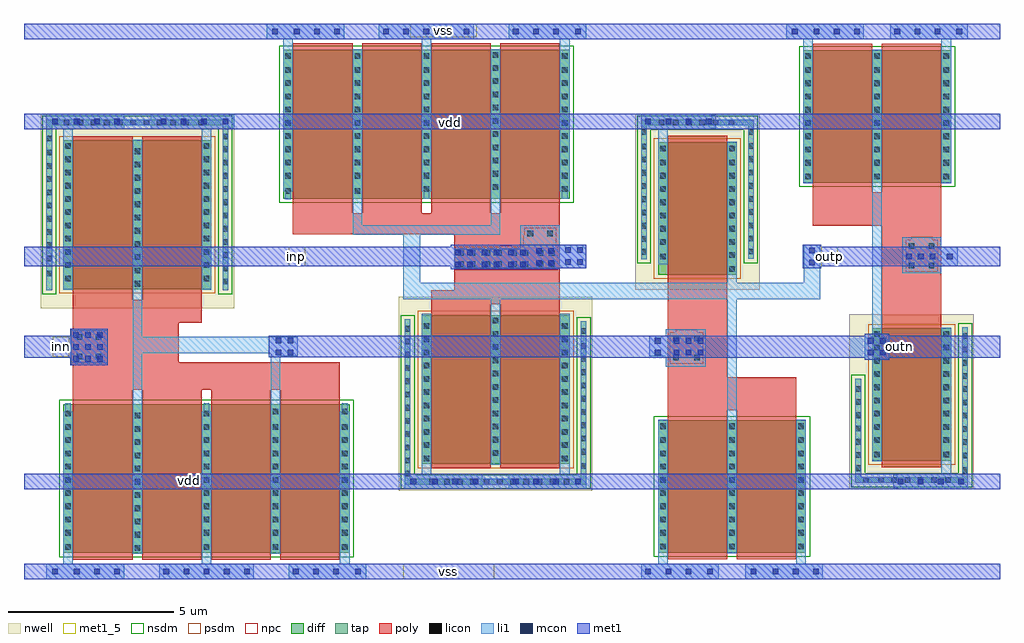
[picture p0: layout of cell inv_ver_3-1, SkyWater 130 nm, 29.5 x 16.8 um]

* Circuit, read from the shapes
.subckt inv_ver_3-1 inn inp outn outp vdd vss
XM1 outn inn vss VSUBS sky130_fd_pr__nfet_01v8 w=4.5 l=1.8 m=4
XM2 outp inp vss VSUBS sky130_fd_pr__nfet_01v8 w=4.5 l=1.8 m=4
XM3 outp outn vss VSUBS sky130_fd_pr__nfet_01v8 w=4 l=1.8 m=2
XM4 outn outp vss VSUBS sky130_fd_pr__nfet_01v8 w=4 l=1.8 m=2
XM5 outn inn vdd vdd sky130_fd_pr__pfet_01v8 w=4.5 l=1.8 m=2
XM6 outp inp vdd vdd sky130_fd_pr__pfet_01v8 w=4.5 l=1.8 m=2
XM7 outp outn vdd vdd sky130_fd_pr__pfet_01v8 w=4 l=1.8
XM8 vdd outp outn vdd sky130_fd_pr__pfet_01v8 w=4 l=1.8
.ends

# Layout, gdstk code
import gdstk
lib = gdstk.Library(unit=1e-6, precision=1e-09)
def R(c, l, rs):  # rectangles x0, y0, x1, y1
    for r in rs: c.add(gdstk.rectangle(r[:2], r[2:], *l))
def A(c, l, x, y, w, h, nx, ny, dx, dy):  # array of equal rectangles
    R(c, l, [(x+i*dx, y+j*dy, x+i*dx+w, y+j*dy+h) for i in range(nx) for j in range(ny)])
nwell = (64, 20)
diff = (65, 20)
tap = (65, 44)
poly = (66, 20)
licon = (66, 44)
li1 = (67, 20)
mcon = (67, 44)
met1_5 = (68, 5)
met1 = (68, 20)
nsdm = (93, 44)
psdm = (94, 20)
npc = (95, 20)

inv_ver_3_1 = lib.new_cell('inv_ver_3-1')
R(inv_ver_3_1, nwell, [(11.33,2.685,17.18,8.54), (24.95,2.735,28.71,8.01), (0.5,8.2,6.35,14.075), (18.475,8.76,22.235,14.07)])
R(inv_ver_3_1, diff, [(1.19,0.8,9.84,5.3), (19.165,0.81,23.635,4.81), (12.02,3.49,16.49,7.99), (25.64,3.59,28.02,7.59), (1.19,8.77,5.66,13.27), (19.165,9.215,21.545,13.215), (7.84,11.51,16.49,16.01), (23.55,11.995,28.02,15.995)])
R(inv_ver_3_1, tap, [(11.51,2.865,17,3.035), (25.13,2.915,28.53,3.085), (11.51,3.035,11.68,7.86), (16.83,3.035,17,7.8), (25.13,3.085,25.3,6.06), (28.36,3.085,28.53,7.615), (0.68,8.745,0.85,13.725), (6,8.745,6.17,13.725), (18.655,9.675,18.825,13.72), (21.885,9.685,22.055,13.72), (18.655,13.72,22.055,13.89), (0.68,13.725,6.17,13.895)])
A(inv_ver_3_1, poly, 1.48, 0.6, 1.8, 5.14, 4, 1, 2.09, 0)
A(inv_ver_3_1, poly, 8.13, 11.07, 1.8, 5.14, 4, 1, 2.09, 0)
R(inv_ver_3_1, poly, [(19.455,0.61,21.255,5.11), (21.545,0.61,23.345,5.11), (12.31,3.36,14.11,8.32), (14.4,3.36,16.2,8.32), (25.93,3.39,27.73,8.075), (19.455,5.11,23.345,6.11), (1.48,5.74,9.55,6.48), (19.455,6.11,21.255,13.415), (1.43,6.48,9.55,6.57), (1.43,6.57,4.68,7.58), (1.48,7.58,4.68,7.76), (1.48,7.76,5.37,8.46), (25.925,8.075,27.73,10.695), (12.31,8.32,16.2,8.74), (1.48,8.46,3.28,13.4), (3.57,8.46,5.37,13.4), (13,8.74,16.2,10.44), (8.13,10.44,16.2,11.07), (23.84,10.695,27.73,11.695), (23.84,11.695,25.64,16.195), (25.93,11.695,27.73,16.195)])
A(inv_ver_3_1, licon, 5.43, 0.9, 0.17, 0.17, 3, 2, 2.09, 0.425)
A(inv_ver_3_1, licon, 19.225, 0.905, 0.17, 0.17, 3, 2, 2.09, 0.42)
A(inv_ver_3_1, licon, 3.34, 1.265, 0.17, 0.17, 1, 10, 0, 0.4)
A(inv_ver_3_1, licon, 1.25, 1.325, 0.17, 0.17, 1, 10, 0, 0.4)
A(inv_ver_3_1, licon, 5.43, 1.725, 0.17, 0.17, 3, 8, 2.09, 0.4)
A(inv_ver_3_1, licon, 19.225, 1.725, 0.17, 0.17, 3, 7, 2.09, 0.4)
A(inv_ver_3_1, licon, 12.695, 2.865, 0.17, 0.17, 9, 1, 0.4, 0)
A(inv_ver_3_1, licon, 25.815, 2.915, 0.17, 0.17, 5, 1, 0.4, 0)
A(inv_ver_3_1, licon, 25.13, 3.275, 0.17, 0.17, 1, 7, 0, 0.4)
A(inv_ver_3_1, licon, 11.51, 3.505, 0.17, 0.17, 1, 10, 0, 0.4)
A(inv_ver_3_1, licon, 28.36, 3.665, 0.17, 0.17, 1, 9, 0, 0.4)
A(inv_ver_3_1, licon, 14.17, 3.735, 0.17, 0.17, 1, 10, 0, 0.4)
A(inv_ver_3_1, licon, 16.83, 3.775, 0.17, 0.17, 1, 9, 0, 0.4)
A(inv_ver_3_1, licon, 12.08, 3.975, 0.17, 0.17, 1, 10, 0, 0.4)
A(inv_ver_3_1, licon, 16.26, 3.975, 0.17, 0.17, 1, 10, 0, 0.4)
A(inv_ver_3_1, licon, 25.7, 4.125, 0.17, 0.17, 1, 8, 0, 0.4)
A(inv_ver_3_1, licon, 27.79, 4.125, 0.17, 0.17, 1, 8, 0, 0.4)
A(inv_ver_3_1, licon, 19.225, 4.545, 0.17, 0.17, 3, 1, 2.09, 0)
A(inv_ver_3_1, licon, 1.25, 9.015, 0.17, 0.17, 1, 10, 0, 0.4)
A(inv_ver_3_1, licon, 5.43, 9.015, 0.17, 0.17, 1, 10, 0, 0.4)
A(inv_ver_3_1, licon, 3.34, 9.255, 0.17, 0.17, 1, 10, 0, 0.4)
A(inv_ver_3_1, licon, 6, 9.315, 0.17, 0.17, 1, 10, 0, 0.4)
A(inv_ver_3_1, licon, 0.68, 9.615, 0.17, 0.17, 1, 9, 0, 0.4)
A(inv_ver_3_1, licon, 21.315, 9.715, 0.17, 0.17, 1, 8, 0, 0.4)
A(inv_ver_3_1, licon, 19.225, 10.115, 0.17, 0.17, 1, 7, 0, 0.4)
A(inv_ver_3_1, licon, 18.655, 10.205, 0.17, 0.17, 1, 8, 0, 0.4)
A(inv_ver_3_1, licon, 21.885, 10.215, 0.17, 0.17, 1, 8, 0, 0.4)
A(inv_ver_3_1, licon, 16.26, 11.715, 0.17, 0.17, 1, 10, 0, 0.4)
A(inv_ver_3_1, licon, 14.17, 11.775, 0.17, 0.17, 1, 10, 0, 0.4)
A(inv_ver_3_1, licon, 23.61, 12.09, 0.17, 0.17, 3, 2, 2.09, 0.42)
A(inv_ver_3_1, licon, 7.9, 12.115, 0.17, 0.17, 3, 9, 2.09, 0.4)
A(inv_ver_3_1, licon, 23.61, 12.91, 0.17, 0.17, 3, 7, 2.09, 0.4)
A(inv_ver_3_1, licon, 19.615, 13.72, 0.17, 0.17, 4, 1, 0.4, 0)
A(inv_ver_3_1, licon, 1.615, 13.725, 0.17, 0.17, 9, 1, 0.4, 0)
A(inv_ver_3_1, licon, 23.61, 15.73, 0.17, 0.17, 3, 1, 2.09, 0)
A(inv_ver_3_1, licon, 7.9, 15.74, 0.17, 0.17, 3, 1, 2.09, 0)
R(inv_ver_3_1, licon, [(3.34,0.87,3.51,1.04), (1.25,0.9,1.42,1.07), (12.245,2.865,12.415,3.035), (16.315,2.865,16.485,3.035), (25.365,2.915,25.535,3.085), (27.84,2.915,28.01,3.085), (11.51,3.12,11.68,3.29), (28.36,3.215,28.53,3.385), (16.83,3.34,17,3.51), (12.08,3.57,12.25,3.74), (16.26,3.57,16.43,3.74), (25.7,3.695,25.87,3.865), (27.79,3.695,27.96,3.865), (5.43,4.925,5.6,5.095), (7.52,4.99,7.69,5.16), (9.61,4.99,9.78,5.16), (19.625,6.625,19.795,6.795), (20.255,6.625,20.425,6.795), (1.595,6.655,1.765,6.825), (2.165,6.655,2.335,6.825), (19.625,7.195,19.795,7.365), (20.255,7.195,20.425,7.365), (1.595,7.245,1.765,7.415), (2.165,7.245,2.335,7.415), (28.36,7.27,28.53,7.44), (25.7,7.335,25.87,7.505), (27.79,7.335,27.96,7.505), (16.83,7.425,17,7.595), (11.51,7.49,11.68,7.66), (14.17,7.74,14.34,7.91), (3.34,8.85,3.51,9.02), (6,8.925,6.17,9.095), (0.68,9.165,0.85,9.335), (21.315,9.3,21.485,9.47), (26.745,9.405,26.915,9.575), (27.345,9.405,27.515,9.575), (13.125,9.445,13.295,9.615), (13.465,9.445,13.635,9.615), (13.925,9.445,14.095,9.615), (14.265,9.445,14.435,9.615), (14.725,9.445,14.895,9.615), (15.065,9.445,15.235,9.615), (15.525,9.445,15.695,9.615), (15.865,9.445,16.035,9.615), (19.225,9.67,19.395,9.84), (13.125,9.785,13.295,9.955), (13.465,9.785,13.635,9.955), (13.925,9.785,14.095,9.955), (14.265,9.785,14.435,9.955), (14.725,9.785,14.895,9.955), (15.065,9.785,15.235,9.955), (15.525,9.785,15.695,9.955), (15.865,9.785,16.035,9.955), (18.655,9.82,18.825,9.99), (21.885,9.83,22.055,10), (26.745,9.995,26.915,10.165), (27.345,9.995,27.515,10.165), (15.215,10.365,15.385,10.535), (15.815,10.365,15.985,10.535), (7.9,11.65,8.07,11.82), (9.99,11.65,10.16,11.82), (12.08,11.715,12.25,11.885), (19.225,12.94,19.395,13.11), (21.315,12.94,21.485,13.11), (1.25,13.02,1.42,13.19), (5.43,13.02,5.6,13.19), (0.68,13.245,0.85,13.415), (6,13.3,6.17,13.47), (18.655,13.435,18.825,13.605), (21.885,13.44,22.055,13.61), (19.18,13.72,19.35,13.89), (21.3,13.72,21.47,13.89), (1.195,13.725,1.365,13.895), (5.265,13.725,5.435,13.895), (16.26,15.74,16.43,15.91), (14.17,15.77,14.34,15.94)])
A(inv_ver_3_1, li1, 1.19, 0.48, 0.29, 4.595, 3, 1, 4.18, 0)
A(inv_ver_3_1, li1, 7.84, 11.735, 0.29, 4.585, 3, 1, 4.18, 0)
R(inv_ver_3_1, li1, [(0.68,0,3.025,0.48), (4.09,0,6.95,0.48), (8.005,0,10.35,0.48), (18.655,0,21,0.48), (21.8,0,24.145,0.48), (19.165,0.48,19.455,4.83), (23.345,0.48,23.635,4.83), (3.28,0.78,3.57,6.84), (7.46,0.78,7.75,6.74), (21.25,0.79,21.545,8.47), (11.51,2.72,13.855,2.865), (14.655,2.72,17,2.865), (26.435,2.72,28.53,2.75), (26.28,2.75,28.53,2.915), (11.51,2.865,17,3.035), (25.13,2.915,28.53,3.085), (11.51,3.035,13.855,3.2), (14.655,3.035,17,3.2), (25.13,3.085,25.3,6.06), (26.28,3.085,28.53,3.17), (26.435,3.17,28.53,3.2), (11.51,3.2,11.68,7.86), (12.02,3.2,12.31,8.03), (16.2,3.2,16.49,8.03), (16.83,3.2,17,7.8), (27.73,3.2,28.02,7.61), (28.36,3.2,28.53,7.615), (14.11,3.47,14.4,8.47), (25.635,3.57,25.93,6.645), (1.25,5.075,1.42,5.32), (5.43,5.075,5.6,5.32), (9.61,5.075,9.805,5.085), (9.61,5.085,9.78,5.32), (19.4,6.43,20.6,6.74), (1.4,6.53,2.53,7.53), (25.405,6.645,26.145,7.425), (7.46,6.74,8.28,6.84), (18.9,6.74,20.6,7.36), (3.28,6.84,8.28,7.34), (3.28,7.34,3.57,13.29), (19.4,7.36,20.6,7.56), (25.635,7.425,25.93,16.015), (11.47,8.47,24.065,8.97), (0.68,8.745,0.85,13.6), (6,8.745,6.17,13.6), (1.19,8.75,1.48,13.6), (5.37,8.75,5.66,13.6), (11.47,8.97,11.97,10.41), (21.255,8.97,21.55,13.235), (23.565,8.97,24.065,10.12), (26.55,9.26,27.73,9.46), (13,9.4,17,10), (26.55,9.46,28.23,10.06), (19.165,9.53,19.455,13.6), (18.655,9.675,18.825,13.6), (21.885,9.685,22.055,13.72), (15,10,17,10.12), (26.55,10.06,27.73,10.34), (15,10.12,16.2,10.7), (9.93,10.41,14.4,10.7), (9.93,10.7,10.22,16.03), (14.11,10.7,14.4,16.03), (7.9,11.49,8.07,11.725), (12.08,11.51,12.25,11.735), (16.26,11.51,16.43,11.735), (7.875,11.725,8.07,11.735), (23.55,11.975,23.84,16.32), (27.73,11.975,28.02,16.32), (0.68,13.6,3.025,13.725), (3.825,13.6,6.17,13.63), (18.655,13.6,20.75,13.63), (3.825,13.63,6.35,13.725), (18.655,13.63,20.905,13.72), (18.655,13.72,22.055,13.89), (0.68,13.725,6.35,13.895), (18.655,13.89,20.905,14.05), (0.68,13.895,3.025,14.08), (3.825,13.895,6.35,14.05), (3.825,14.05,6.17,14.08), (18.655,14.05,20.75,14.08), (7.33,16.32,9.68,16.8), (10.73,16.32,13.59,16.8), (14.655,16.32,17,16.8), (23.04,16.32,25.38,16.35), (26.19,16.32,28.53,16.35), (23.04,16.35,25.385,16.77), (26.185,16.35,28.53,16.77), (23.04,16.77,25.38,16.8), (26.19,16.77,28.53,16.8)])
A(inv_ver_3_1, mcon, 1.51, 0.155, 0.17, 0.17, 3, 2, 0.61, 13.6)
A(inv_ver_3_1, mcon, 4.215, 0.155, 0.17, 0.17, 5, 1, 0.61, 0)
A(inv_ver_3_1, mcon, 8.13, 0.155, 0.17, 0.17, 3, 1, 0.61, 0)
A(inv_ver_3_1, mcon, 18.78, 0.155, 0.17, 0.17, 3, 1, 0.61, 0)
A(inv_ver_3_1, mcon, 22.63, 0.155, 0.17, 0.17, 3, 1, 0.61, 0)
A(inv_ver_3_1, mcon, 12.34, 2.875, 0.17, 0.17, 3, 1, 0.61, 0)
A(inv_ver_3_1, mcon, 14.78, 2.875, 0.17, 0.17, 3, 2, 0.61, 13.6)
A(inv_ver_3_1, mcon, 26.405, 2.875, 0.17, 0.17, 4, 1, 0.61, 0)
A(inv_ver_3_1, mcon, 1.49, 6.585, 0.17, 0.17, 3, 3, 0.36, 0.36)
A(inv_ver_3_1, mcon, 19.64, 6.77, 0.17, 0.17, 3, 2, 0.36, 0.36)
A(inv_ver_3_1, mcon, 26.66, 9.675, 0.17, 0.17, 3, 1, 0.36, 0)
A(inv_ver_3_1, mcon, 4.13, 13.755, 0.17, 0.17, 3, 1, 0.61, 0)
A(inv_ver_3_1, mcon, 18.78, 13.755, 0.17, 0.17, 4, 1, 0.61, 0)
A(inv_ver_3_1, mcon, 8.16, 16.475, 0.17, 0.17, 3, 1, 0.61, 0)
A(inv_ver_3_1, mcon, 10.855, 16.475, 0.17, 0.17, 5, 1, 0.61, 0)
A(inv_ver_3_1, mcon, 23.87, 16.475, 0.17, 0.17, 3, 1, 0.61, 0)
A(inv_ver_3_1, mcon, 26.31, 16.475, 0.17, 0.17, 3, 1, 0.61, 0)
R(inv_ver_3_1, mcon, [(0.85,0.155,1.02,0.325), (10.005,0.155,10.175,0.325), (20.655,0.155,20.825,0.325), (21.97,0.155,22.14,0.325), (11.68,2.875,11.85,3.045), (16.655,2.875,16.825,3.045), (19.07,6.77,19.24,6.94), (25.51,6.77,25.68,6.94), (25.87,6.77,26.04,6.94), (7.605,6.775,7.775,6.945), (7.965,6.775,8.135,6.945), (19.07,7.13,19.24,7.3), (25.51,7.13,25.68,7.3), (25.87,7.13,26.04,7.3), (7.605,7.135,7.775,7.305), (7.965,7.135,8.135,7.305), (13.035,9.435,13.205,9.605), (13.395,9.435,13.565,9.605), (13.835,9.435,14.005,9.605), (14.195,9.435,14.365,9.605), (14.635,9.435,14.805,9.605), (14.995,9.435,15.165,9.605), (15.485,9.48,15.655,9.65), (15.845,9.48,16.015,9.65), (23.73,9.495,23.9,9.665), (16.355,9.51,16.525,9.68), (16.715,9.51,16.885,9.68), (27.895,9.675,28.065,9.845), (13.035,9.795,13.205,9.965), (13.395,9.795,13.565,9.965), (13.835,9.795,14.005,9.965), (14.195,9.795,14.365,9.965), (14.635,9.795,14.805,9.965), (14.995,9.795,15.165,9.965), (15.485,9.84,15.655,10.01), (15.845,9.84,16.015,10.01), (23.73,9.855,23.9,10.025), (16.355,9.87,16.525,10.04), (16.715,9.87,16.885,10.04), (0.85,13.755,1.02,13.925), (6.005,13.755,6.175,13.925), (7.5,16.475,7.67,16.645), (16.655,16.475,16.825,16.645), (23.21,16.475,23.38,16.645), (28.185,16.475,28.355,16.645)])
R(inv_ver_3_1, met1_5, [(11.46,0,14.22,0.48), (4,2.79,6,3.21), (26.205,6.73,26.705,7.33), (0.87,6.735,1.37,7.335), (8,9.46,8.5,10.06), (24.095,9.46,24.595,10.06), (11.88,13.6,13.88,14.02), (11.68,16.38,13.68,16.8)])
R(inv_ver_3_1, met1, [(0,0,29.5,0.48), (0,2.72,29.5,3.2), (1.4,6.48,2.53,6.705), (25.405,6.645,26.145,6.705), (0,6.705,2.53,7.365), (17.17,6.705,29.5,6.71), (7.4,6.71,29.5,7.365), (1.4,7.365,2.53,7.58), (7.4,7.365,20.66,7.37), (25.405,7.365,26.145,7.425), (12.9,9.37,16.2,9.4), (12.9,9.4,17,9.46), (23.535,9.4,24.095,9.46), (0,9.46,17,10.06), (23.535,9.46,29.5,10.06), (12.9,10.06,17,10.12), (23.535,10.06,24.095,10.12), (0,13.6,29.5,14.08), (0,16.32,29.5,16.8)])
R(inv_ver_3_1, nsdm, [(1.065,0.675,9.965,5.425), (19.04,0.685,23.76,4.935), (11.385,2.74,17.125,3.16), (25.005,2.79,28.655,3.21), (11.385,3.16,11.805,7.985), (16.705,3.16,17.125,7.925), (25.005,3.21,25.425,6.185), (28.235,3.21,28.655,7.74), (0.555,8.62,0.975,13.6), (5.875,8.62,6.295,13.6), (18.53,9.55,18.95,13.595), (21.76,9.56,22.18,13.595), (7.715,11.385,16.615,16.135), (23.425,11.87,28.145,16.12), (18.53,13.595,22.18,14.015), (0.555,13.6,6.295,14.02)])
R(inv_ver_3_1, psdm, [(11.895,3.365,16.615,8.115), (25.515,3.465,28.145,7.715), (1.065,8.645,5.785,13.395), (19.04,9.09,21.67,13.34)])
R(inv_ver_3_1, npc, [(19.525,6.525,20.525,7.465), (1.495,6.555,2.435,7.515), (19.695,7.465,20.355,7.55), (26.645,9.305,27.615,10.265), (13.025,9.345,16.135,10.055), (14.415,10.055,14.745,10.085), (15.09,10.055,16.085,10.38), (26.815,10.265,27.445,10.35), (15.115,10.38,16.085,10.635)])
inv_ver_3_1.add(gdstk.Label('vdd', (12.88,13.81), layer=68, texttype=5))
inv_ver_3_1.add(gdstk.Label('vss', (12.68,16.59), layer=68, texttype=5))
inv_ver_3_1.add(gdstk.Label('vdd', (5,3), layer=68, texttype=5))
inv_ver_3_1.add(gdstk.Label('vss', (12.84,0.24), layer=68, texttype=5))
inv_ver_3_1.add(gdstk.Label('outn', (26.455,7.03), layer=68, texttype=5))
inv_ver_3_1.add(gdstk.Label('outp', (24.345,9.76), layer=68, texttype=5))
inv_ver_3_1.add(gdstk.Label('inn', (1.12,7.035), layer=68, texttype=5))
inv_ver_3_1.add(gdstk.Label('inp', (8.25,9.76), layer=68, texttype=5))

lib.write_gds('inv_ver_3-1.gds')
